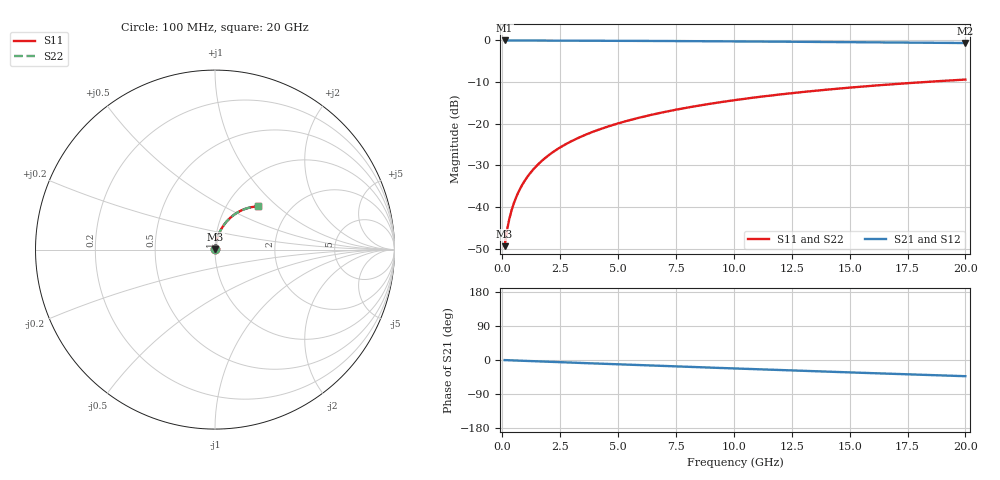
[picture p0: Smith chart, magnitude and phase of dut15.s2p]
! Touchstone file exported from HFSS 2026.1.0
!  File:  C:/ffzhzh/LocalFiles/Ansys_Project_Files/temp_val_BSMRDL_15_1782903286_46784.aedt
!  Generated:  06:56:01 PM Jul  1, 2026
!  Design:  BSMRDL
!  Project:  temp_val_BSMRDL_15_1782903286_46784
! Variables:
!  h_bsmrdl = 5.11um
!  h_ox = 20um
!  h_rdl = 5um
!  h_sub = 80um
!  h_tmrdl = 5um
!  h_tsv = 80um
!  h_via = 3um
!  l_bsmrdl = 668.6um
!  l_sub = 1068.6um
!  l_tmrdl = 200um
!  m_sub = 200um
!  pitch = 40.98um
!  r_tsv = 6um
!  s_tmrdl = 10um
!  w_bsmrdl = 20.02um
!  w_sub = 500um
!  w_tmrdl = 12um
!  x_tsv_center1 = 206um
!  x_tsv_center2 = 894.62um
!  x_tsv_center3 = 1106.62um
!  x_tsv_center4 = 1795.24um
!  x_tsv_center5 = 2007.24um
!  x_tsv_center6 = 2695.86um
# GHz S MA R 50.000000
! Terminal data exported
! Port[1] = BSM_RDL1_1_T1
! Port[2] = BSM_RDL1_1_T2
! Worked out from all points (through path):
!   200 points, 100 MHz to 20 GHz, reference 50 ohm
!   highest |S21| = -0.02 dB at 100 MHz (marker M1); lowest = -0.6 dB at 20 GHz (marker M2)
!   group delay of S21, straight-line fit = 5.93 ps
!   lowest |S11| = -49.4 dB at 100 MHz (marker M3), VSWR 1.01, Z = 50.2 + j0.231 ohm
!   |S11| at or under -10 dB: start of sweep to 18.25 GHz
!   |S22| runs from -49.4 to -9.4 dB; largest |S21 - S12| = 3.7e-15
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0.1  0.003386 42.8  0.9975 -0.2  0.9975 -0.2  0.003386 42.8
! Gamma 0 0 0 0
! Port Impedance 50 0 50 0
0.2  0.005208 59.1  0.9974 -0.5  0.9974 -0.5  0.005208 59.1
0.3  0.007143 66.5  0.9972 -0.7  0.9972 -0.7  0.007142 66.5
0.4  0.009111 70.7  0.9971 -0.9  0.9971 -0.9  0.009111 70.7
0.5  0.01111 73.5  0.997 -1.2  0.997 -1.2  0.01111 73.5
0.6  0.01312 75.4  0.9969 -1.4  0.9969 -1.4  0.01312 75.4
0.8  0.01719 77.8  0.9968 -1.9  0.9968 -1.9  0.01719 77.8
1.1  0.02335 79.5  0.9965 -2.6  0.9965 -2.6  0.02335 79.5
1.5  0.03156 80.2  0.996 -3.5  0.996 -3.5  0.03156 80.2
1.8  0.0377 80.2  0.9956 -4.2  0.9956 -4.2  0.0377 80.2
2.1  0.04381 80.0  0.9951 -4.8  0.9951 -4.8  0.04381 80.0
2.7  0.05591 79.3  0.994 -6.2  0.994 -6.2  0.05591 79.3
3.5  0.07178 77.9  0.9923 -8.0  0.9923 -8.0  0.07178 77.9
4.2  0.08543 76.6  0.9906 -9.6  0.9906 -9.6  0.08543 76.6
5  0.1008 75.0  0.9886 -11.4  0.9886 -11.4  0.1008 75.0
5.9  0.1177 73.2  0.986 -13.4  0.986 -13.4  0.1177 73.2
6.8  0.1344 71.4  0.9833 -15.3  0.9833 -15.3  0.1344 71.4
8.3  0.1614 68.4  0.9784 -18.6  0.9784 -18.6  0.1614 68.4
10.1  0.1928 64.8  0.972 -22.5  0.972 -22.5  0.1928 64.8
13.4  0.2466 58.2  0.9587 -29.4  0.9587 -29.4  0.2466 58.2
16.7  0.2953 51.7  0.9442 -36.2  0.9442 -36.2  0.2952 51.7
20  0.3384 45.3  0.9292 -42.7  0.9292 -42.7  0.3383 45.3
